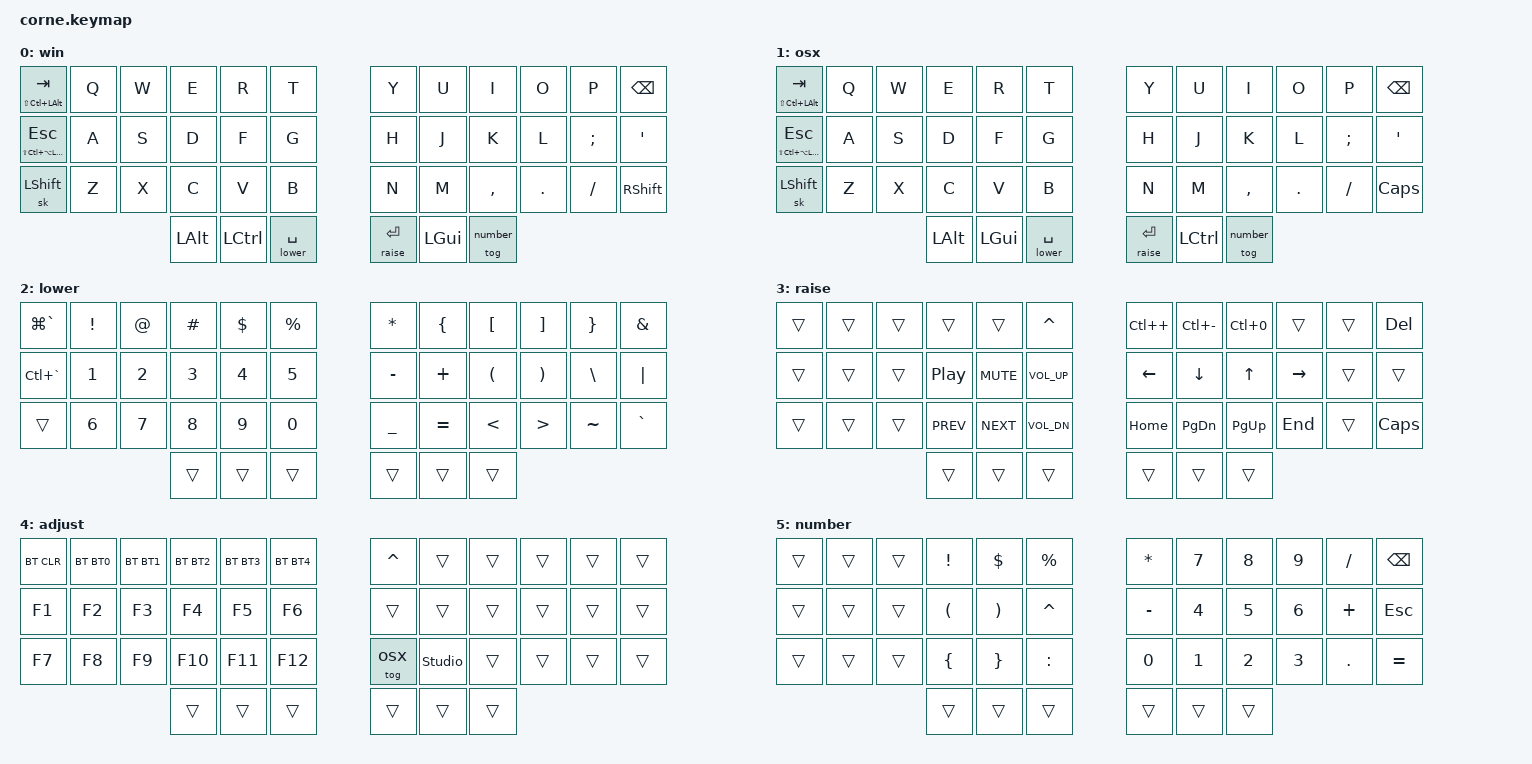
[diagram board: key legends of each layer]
/*
 * Copyright (c) 2020 The ZMK Contributors
 *
 * SPDX-License-Identifier: MIT
 */

#include <behaviors.dtsi>
#include <dt-bindings/zmk/keys.h>
#include <dt-bindings/zmk/bt.h>

#define HYPER   LS(LC(LA(LGUI)))
#define MEH     LS(LC(LALT))

#define BT0     BT_SEL 0
#define BT1     BT_SEL 1
#define BT2     BT_SEL 2
#define BT3     BT_SEL 3
#define BT4     BT_SEL 4
#define BTC     BT_CLR

#define PLAY      C_PP
#define VOLUP   C_VOL_UP
#define VOLDN   C_VOL_DN
#define MUTE    C_MUTE
#define NEXT    C_NEXT
#define PREV    C_PREV

#define win         0
#define osx         1
#define lower       2
#define raise       3
#define adjust      4
#define number      5


/ {
    conditional_layers {
        compatible = "zmk,conditional-layers";

        adjust_layer {
            if-layers = <lower raise>;
            then-layer = <adjust>;
        };
    };

    keymap {
        compatible = "zmk,keymap";

        win_layer {
            label = "win";
            bindings = <
&mt MEH   TAB &kp Q &kp W &kp E &kp R &kp T         &kp Y &kp U &kp I     &kp O   &kp P    &kp BSPC
&mt HYPER ESC &kp A &kp S &kp D &kp F &kp G         &kp H &kp J &kp K     &kp L   &kp SEMI &kp SQT
&sk LSHFT     &kp Z &kp X &kp C &kp V &kp B         &kp N &kp M &kp COMMA &kp DOT &kp FSLH &kp RSHFT
        &kp LALT  &kp LCTRL &lt lower SPACE         &lt raise RET &kp LGUI &tog number
            >;
        };

        osx_layer {
            label = "osx";
            bindings = <
&mt MEH   TAB &kp Q &kp W &kp E &kp R &kp T         &kp Y &kp U &kp I     &kp O   &kp P    &kp BSPC
&mt HYPER ESC &kp A &kp S &kp D &kp F &kp G         &kp H &kp J &kp K     &kp L   &kp SEMI &kp SQT
&sk LSHFT     &kp Z &kp X &kp C &kp V &kp B         &kp N &kp M &kp COMMA &kp DOT &kp FSLH &kp CAPS
        &kp LALT  &kp LGUI  &lt lower SPACE         &lt raise RET &kp LCTRL &tog number
            >;
        };

        lower_layer {
            label = "lower";
            bindings = <
&kp LG(GRAVE) &kp EXCL &kp AT &kp HASH &kp DLLR &kp PRCNT   &kp STAR  &kp LBRC  &kp LBKT &kp RBKT &kp RBRC  &kp AMPS
&kp LC(GRAVE) &kp N1 &kp N2 &kp N3 &kp N4 &kp N5            &kp MINUS &kp PLUS  &kp LPAR &kp RPAR &kp BSLH  &kp PIPE
&trans        &kp N6 &kp N7 &kp N8 &kp N9 &kp N0            &kp UNDER &kp EQUAL &kp LT   &kp GT   &kp TILDE &kp GRAVE
                            &trans  &trans  &trans        &trans  &trans &trans
            >;
        };
 
        raise_layer {
            label = "raise";
            bindings = <
&trans &trans &trans   &trans  &trans  &kp CARET        &kp LC(PLUS) &kp LC(MINUS) &kp LC(N0) &trans    &trans  &kp DEL
&trans &trans &trans &kp PLAY  &kp MUTE  &kp VOLUP        &kp LEFT     &kp DOWN      &kp UP     &kp RIGHT &trans  &trans
&trans &trans &trans  &kp PREV    &kp NEXT  &kp VOLDN     &kp HOME     &kp PG_DN     &kp PG_UP  &kp END   &trans  &kp CAPS
                        &trans  &trans  &trans             &trans  &trans &trans
            >;
        };

        adjust_layer {
            label = "adjust";
            bindings = <
&bt BTC &bt BT0 &bt BT1 &bt BT2 &bt BT3 &bt BT4      &kp CARET &trans  &trans  &trans  &trans  &trans
&kp F1  &kp F2  &kp F3  &kp F4  &kp F5  &kp F6       &trans   &trans  &trans  &trans  &trans  &trans
&kp F7  &kp F8 &kp F9  &kp F10 &kp F11 &kp F12       &tog osx &studio_unlock   &trans  &trans  &trans  &trans
                         &trans  &trans  &trans      &trans  &trans  &trans
            >;
        };

        number_layer {
            label = "number";
            bindings = <
&trans &trans &trans &kp EXCL &kp DLLR &kp PRCNT    &kp STAR &kp N7 &kp N8 &kp N9 &kp FSLH &kp BSPC
&trans &trans &trans &kp LPAR &kp RPAR &kp CARET    &kp MINUS &kp N4 &kp N5 &kp N6 &kp PLUS &kp ESC
&trans &trans &trans &kp LBRC &kp RBRC &kp COLON    &kp N0   &kp N1 &kp N2 &kp N3 &kp DOT  &kp EQUAL
                     &trans &trans &trans         &trans &trans &trans
            >;
        };
    };
};
